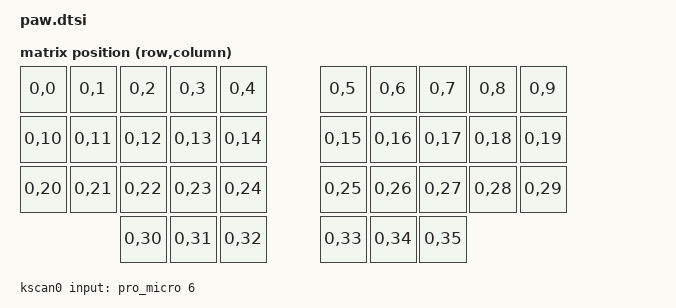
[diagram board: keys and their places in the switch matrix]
/*
 * Copyright (c) 2022 The ZMK Contributors
 *
 * SPDX-License-Identifier: MIT
 */

#include <dt-bindings/zmk/matrix_transform.h>

/ {
    chosen {
        zmk,kscan = &kscan0;
        zmk,matrix_transform = &default_transform;
    };

    default_transform: keymap_transform_0 {
        compatible = "zmk,matrix-transform";
        columns = <18>;
        rows = <1>;
        map = <
                RC(0,0)  RC(0,1)  RC(0,2)  RC(0,3)  RC(0,4)       RC(0,5)  RC(0,6)  RC(0,7)  RC(0,8)  RC(0,9)
                RC(0,10) RC(0,11) RC(0,12) RC(0,13) RC(0,14)      RC(0,15) RC(0,16) RC(0,17) RC(0,18) RC(0,19)        
                RC(0,20) RC(0,21) RC(0,22) RC(0,23) RC(0,24)      RC(0,25) RC(0,26) RC(0,27) RC(0,28) RC(0,29)
                                  RC(0,30) RC(0,31) RC(0,32)      RC(0,33) RC(0,34) RC(0,35)         
        >;
    };


//            = <0 0 &gpio0 8 0>      /* D0 */
//            , <1 0 &gpio0 6 0>      /* D1 */
//            , <2 0 &gpio0 17 0>     /* D2 */
//            , <3 0 &gpio0 20 0>     /* D3 */
//            , <4 0 &gpio0 22 0>     /* D4/A6 */
//            , <5 0 &gpio0 24 0>     /* D5 */
//            , <6 0 &gpio1 0 0>      /* D6/A7 */
//            , <7 0 &gpio0 11 0>     /* D7 */
//            , <8 0 &gpio1 4 0>      /* D8/A8 */
//            , <9 0 &gpio1 6 0>      /* D9/A9 */
//            , <10 0 &gpio0 9 0>     /* D10/A10 */
//            , <16 0 &gpio0 10 0>    /* D16 */
//            , <14 0 &gpio1 11 0>    /* D14 */
//            , <15 0 &gpio1 13 0>    /* D15 */
//            , <18 0 &gpio1 15 0>    /* D18/A0 */
//            , <19 0 &gpio0 2 0> /* D19/A1 */
//            , <20 0 &gpio0 29 0>    /* D20/A2 */
//            , <21 0 &gpio0 31 0>    /* D21/A3 */f


    kscan0: kscan {
        compatible = "zmk,kscan-gpio-direct";
        wakeup-source;
        input-gpios
            = 
            <&pro_micro 6 (GPIO_ACTIVE_LOW | GPIO_PULL_UP)>
            ;
//            <&pro_micro 5 (GPIO_ACTIVE_LOW | GPIO_PULL_UP)>
//            , <&pro_micro 18 (GPIO_ACTIVE_LOW | GPIO_PULL_UP)>
//            , <&pro_micro 3 (GPIO_ACTIVE_LOW | GPIO_PULL_UP)>
//            , <&pro_micro 20 (GPIO_ACTIVE_LOW | GPIO_PULL_UP)>
//            , <&pro_micro 2 (GPIO_ACTIVE_LOW | GPIO_PULL_UP)>
//            
//            , <&pro_micro 21 (GPIO_ACTIVE_LOW | GPIO_PULL_UP)>
//
//            , <&pro_micro 16 (GPIO_ACTIVE_LOW | GPIO_PULL_UP)>
//            , <&pro_micro 15 (GPIO_ACTIVE_LOW | GPIO_PULL_UP)>
//            , <&pro_micro 14 (GPIO_ACTIVE_LOW | GPIO_PULL_UP)>
//            , <&pro_micro 4 (GPIO_ACTIVE_LOW | GPIO_PULL_UP)>
//            , <&pro_micro 10 (GPIO_ACTIVE_LOW | GPIO_PULL_UP)>
//            , <&pro_micro 7 (GPIO_ACTIVE_LOW | GPIO_PULL_UP)>
//            , <&pro_micro 6 (GPIO_ACTIVE_LOW | GPIO_PULL_UP)>
//            , <&pro_micro 8 (GPIO_ACTIVE_LOW | GPIO_PULL_UP)>
//            , <&pro_micro 9 (GPIO_ACTIVE_LOW | GPIO_PULL_UP)>
//            , <&pro_micro 1 (GPIO_ACTIVE_LOW | GPIO_PULL_UP)>
//            , <&pro_micro 19 (GPIO_ACTIVE_LOW | GPIO_PULL_UP)>
//            ;
//            , <&pro_micro 17 (GPIO_ACTIVE_LOW | GPIO_PULL_UP)>
//            , <&pro_micro 13 (GPIO_ACTIVE_LOW | GPIO_PULL_UP)>
//            , <&pro_micro 12 (GPIO_ACTIVE_LOW | GPIO_PULL_UP)>
//            , <&pro_micro 11 (GPIO_ACTIVE_LOW | GPIO_PULL_UP)>
    };
};

//    kscan0: kscan_0 {
//        compatible = "zmk,kscan-gpio-matrix";
//        label = "KSCAN";
//        
//        diode-direction = "col2row"; 
//        row-gpios
//            = <&xiao_d 0 (GPIO_ACTIVE_HIGH | GPIO_PULL_DOWN)>
//            , <&xiao_d 1 (GPIO_ACTIVE_HIGH | GPIO_PULL_DOWN)>
//            , <&xiao_d 2 (GPIO_ACTIVE_HIGH | GPIO_PULL_DOWN)>
//            , <&xiao_d 3 (GPIO_ACTIVE_HIGH | GPIO_PULL_DOWN)>
//            ;
//    };
